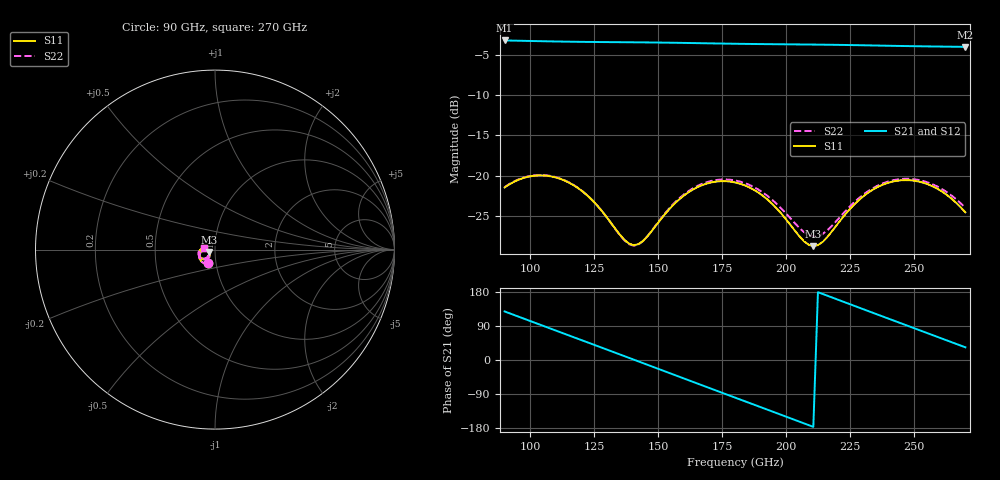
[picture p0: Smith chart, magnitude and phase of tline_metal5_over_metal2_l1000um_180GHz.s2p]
#  GHZ S DB R 50
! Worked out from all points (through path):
!   101 points, 90 GHz to 270 GHz, reference 50 ohm
!   highest |S21| = -3.22 dB at 90 GHz (marker M1); lowest = -4.0 dB at 270 GHz (marker M2)
!   group delay of S21, straight-line fit = 7.02 ps
!   lowest |S11| = -28.7 dB at 210.6 GHz (marker M3), VSWR 1.08, Z = 46.7 - j1.25 ohm
!   |S11| at or under -10 dB: start of sweep to end of sweep
!   |S22| runs from -28.7 to -19.9 dB; largest |S21 - S12| = 7.6e-14
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90  -21.45 -117.4  -3.22 128.2  -3.22 128.2  -21.40 -117.2
97.2  -20.29 -129.6  -3.26 110.0  -3.26 110.0  -20.24 -129.4
104.4  -19.95 -143.0  -3.31 91.8  -3.31 91.8  -19.91 -142.8
111.6  -20.36 -156.1  -3.35 73.7  -3.35 73.7  -20.33 -155.8
120.6  -21.98 -170.0  -3.39 51.0  -3.39 51.0  -21.96 -169.7
129.6  -25.01 -176.1  -3.42 28.4  -3.42 28.4  -25.03 -175.6
138.6  -28.41 -159.5  -3.44 5.6  -3.44 5.6  -28.49 -158.3
144  -28.10 -139.7  -3.45 -8.0  -3.45 -8.0  -28.12 -137.9
151.2  -25.32 -127.9  -3.48 -26.3  -3.48 -26.3  -25.24 -126.0
165.6  -21.37 -140.0  -3.55 -62.8  -3.55 -62.8  -21.21 -138.0
172.8  -20.71 -151.2  -3.59 -81.0  -3.59 -81.0  -20.52 -149.0
180  -20.82 -162.9  -3.62 -99.2  -3.62 -99.2  -20.57 -160.4
187.2  -21.71 -173.6  -3.65 -117.3  -3.65 -117.3  -21.37 -170.7
196.2  -24.02 177.6  -3.68 -140.0  -3.68 -140.0  -23.46 -179.0
210.6  -28.73 -158.5  -3.73 -176.4  -3.73 -176.4  -27.54 -159.6
216  -27.62 -140.5  -3.75 169.9  -3.75 169.9  -26.78 -144.3
225  -24.08 -133.2  -3.79 147.0  -3.79 147.0  -23.76 -136.4
234  -21.69 -141.5  -3.84 124.2  -3.84 124.2  -21.52 -143.4
241.2  -20.75 -151.8  -3.88 106.0  -3.88 106.0  -20.59 -152.9
248.4  -20.56 -163.0  -3.92 87.9  -3.92 87.9  -20.38 -163.4
255.6  -21.09 -173.9  -3.95 69.7  -3.95 69.7  -20.86 -173.7
270  -24.54 172.5  -4.01 33.4  -4.01 33.4  -23.96 173.8
